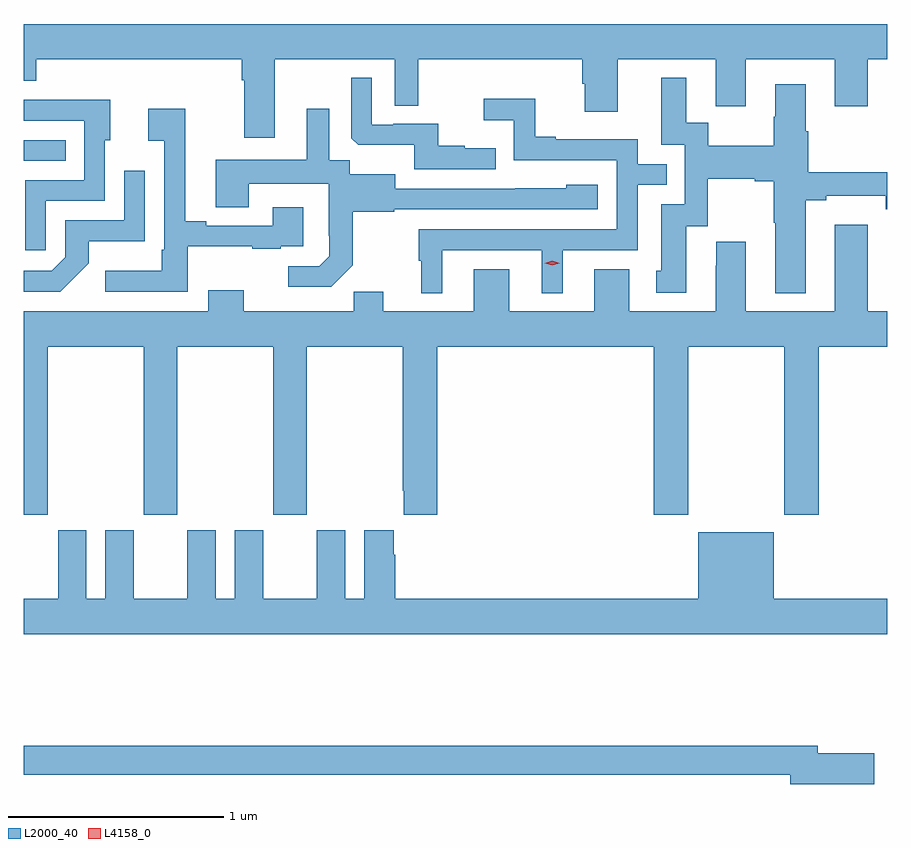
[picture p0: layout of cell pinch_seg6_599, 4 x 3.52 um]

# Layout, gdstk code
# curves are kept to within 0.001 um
import gdstk
lib = gdstk.Library(unit=1e-6, precision=1e-09)
def R(c, l, rs):  # rectangles x0, y0, x1, y1
    for r in rs: c.add(gdstk.rectangle(r[:2], r[2:], *l))
def P(c, l, *ps):  # polygons
    for p in ps: c.add(gdstk.Polygon(p, *l))
L2000_40 = (2000, 40)
L4158_0 = (4158, 0)

pinch_seg6_599 = lib.new_cell('pinch_seg6_599')
R(pinch_seg6_599, L2000_40, [(490.131,994.818,490.325,994.914)])
P(pinch_seg6_599, L2000_40, [(491.293,995.288),(491.85,995.288),(491.85,995.074),(491.959,995.074),(491.959,995.288),(492.719,995.288),(492.719,995.175),(492.731,995.175),(492.731,995.046),(492.883,995.046),(492.883,995.288),(493.337,995.288),(493.337,995.07),(493.477,995.07),(493.477,995.288),(493.889,995.288),(493.889,995.07),(494.042,995.07),(494.042,995.288),(494.131,995.288),(494.131,995.452),(490.131,995.452),(490.131,995.189),(490.189,995.189),(490.189,995.288),(491.141,995.288),(491.141,995.192),(491.153,995.192),(491.153,994.926),(491.293,994.926)],
  [(492.317,994.876),(492.173,994.876),(492.173,994.888),(492.05,994.888),(492.05,994.989),(491.842,994.989),(491.842,994.986),(491.742,994.986),(491.742,995.203),(491.649,995.203),(491.649,994.923),(491.681,994.892),(491.94,994.892),(491.94,994.779),(492.317,994.779)],
  [(493.753,994.636),(493.849,994.636),(493.849,994.655),(494.126,994.655),(494.126,994.594),(494.131,994.594),(494.131,994.765),(493.766,994.765),(493.766,994.955),(493.753,994.955),(493.753,995.173),(493.613,995.173),(493.613,995.022),(493.606,995.022),(493.606,994.888),(493.303,994.888),(493.303,994.994),(493.201,994.994),(493.201,995.203),(493.085,995.203),(493.085,994.893),(493.194,994.893),(493.194,994.617),(493.085,994.617),(493.085,994.308),(493.061,994.308),(493.061,994.206),(493.201,994.206),(493.201,994.514),(493.299,994.514),(493.299,994.736),(493.517,994.736),(493.517,994.724),(493.606,994.724),(493.606,994.531),(493.613,994.531),(493.613,994.205),(493.753,994.205)],
  [(492.07,994.404),(492.53,994.404),(492.53,994.205),(492.628,994.205),(492.628,994.404),(492.975,994.404),(492.975,994.707),(493.109,994.707),(493.109,994.803),(492.975,994.803),(492.975,994.917),(492.595,994.917),(492.595,994.93),(492.501,994.93),(492.501,995.105),(492.261,995.105),(492.261,995.006),(492.402,995.006),(492.402,994.821),(492.879,994.821),(492.879,994.5),(491.961,994.5),(491.961,994.356),(491.972,994.356),(491.972,994.205),(492.07,994.205)],
  [(490.233,994.632),(490.506,994.632),(490.506,994.914),(490.531,994.914),(490.531,995.102),(490.313,995.102),(490.313,995.1),(490.131,995.1),(490.131,995.004),(490.41,995.004),(490.41,994.728),(490.137,994.728),(490.137,994.404),(490.233,994.404)],
  [(490.891,994.421),(491.189,994.421),(491.189,994.41),(491.321,994.41),(491.321,994.422),(491.425,994.422),(491.425,994.603),(491.285,994.603),(491.285,994.518),(490.975,994.518),(490.975,994.537),(490.879,994.537),(490.879,995.059),(490.707,995.059),(490.707,994.91),(490.782,994.91),(490.782,994.405),(490.77,994.405),(490.77,994.309),(490.509,994.309),(490.509,994.212),(490.891,994.212)],
  [(491.655,994.335),(491.655,994.581),(491.847,994.581),(491.847,994.593),(492.79,994.593),(492.79,994.708),(492.645,994.708),(492.645,994.69),(491.851,994.689),(491.851,994.756),(491.64,994.756),(491.64,994.82),(491.545,994.82),(491.545,995.059),(491.441,995.059),(491.441,994.822),(491.021,994.822),(491.021,994.603),(491.173,994.603),(491.173,994.712),(491.544,994.712),(491.544,994.471),(491.546,994.471),(491.546,994.376),(491.499,994.329),(491.355,994.329),(491.355,994.235),(491.555,994.235)],
  [(490.431,994.343),(490.431,994.445),(490.692,994.445),(490.692,994.771),(490.596,994.771),(490.596,994.542),(490.323,994.542),(490.323,994.371),(490.26,994.308),(490.131,994.308),(490.131,994.212),(490.3,994.212)],
  [(490.242,993.956),(490.687,993.956),(490.687,993.177),(490.842,993.177),(490.842,993.956),(491.287,993.956),(491.287,993.177),(491.442,993.177),(491.442,993.956),(491.887,993.956),(491.887,993.289),(491.891,993.289),(491.891,993.177),(492.047,993.177),(492.047,993.956),(493.049,993.956),(493.049,993.177),(493.209,993.177),(493.209,993.956),(493.654,993.956),(493.654,993.177),(493.814,993.177),(493.814,993.956),(494.131,993.956),(494.131,994.12),(494.042,994.12),(494.042,994.522),(493.889,994.522),(493.889,994.12),(493.477,994.12),(493.477,994.444),(493.34,994.444),(493.34,994.331),(493.337,994.331),(493.337,994.12),(492.937,994.12),(492.937,994.315),(492.773,994.315),(492.773,994.12),(492.379,994.12),(492.379,994.315),(492.215,994.315),(492.215,994.12),(491.797,994.12),(491.797,994.211),(491.659,994.211),(491.659,994.12),(491.149,994.12),(491.149,994.219),(490.985,994.219),(490.985,994.12),(490.131,994.12),(490.131,993.177),(490.242,993.177)],
  [(494.131,992.788),(493.606,992.788),(493.606,993.097),(493.256,993.097),(493.256,992.788),(491.852,992.788),(491.852,992.993),(491.845,992.993),(491.845,993.106),(491.708,993.106),(491.708,992.788),(491.62,992.788),(491.62,993.106),(491.489,993.106),(491.489,992.788),(491.239,992.788),(491.239,993.106),(491.108,993.106),(491.108,992.788),(491.02,992.788),(491.02,993.106),(490.889,993.106),(490.889,992.788),(490.639,992.788),(490.639,993.106),(490.508,993.106),(490.508,992.788),(490.42,992.788),(490.42,993.106),(490.289,993.106),(490.289,992.788),(490.131,992.788),(490.131,992.624),(494.131,992.624)],
  [(494.071,992.072),(493.81,992.072),(493.81,992.108),(490.131,992.108),(490.131,991.972),(493.682,991.972),(493.682,991.93),(494.071,991.93)])
P(pinch_seg6_599, L4158_0, [(492.579,994.334),(492.544,994.344),(492.543,994.344),(492.544,994.344),(492.579,994.354),(492.615,994.344),(492.615,994.344),(492.615,994.344)])

lib.write_gds('pinch_seg6_599.gds')
